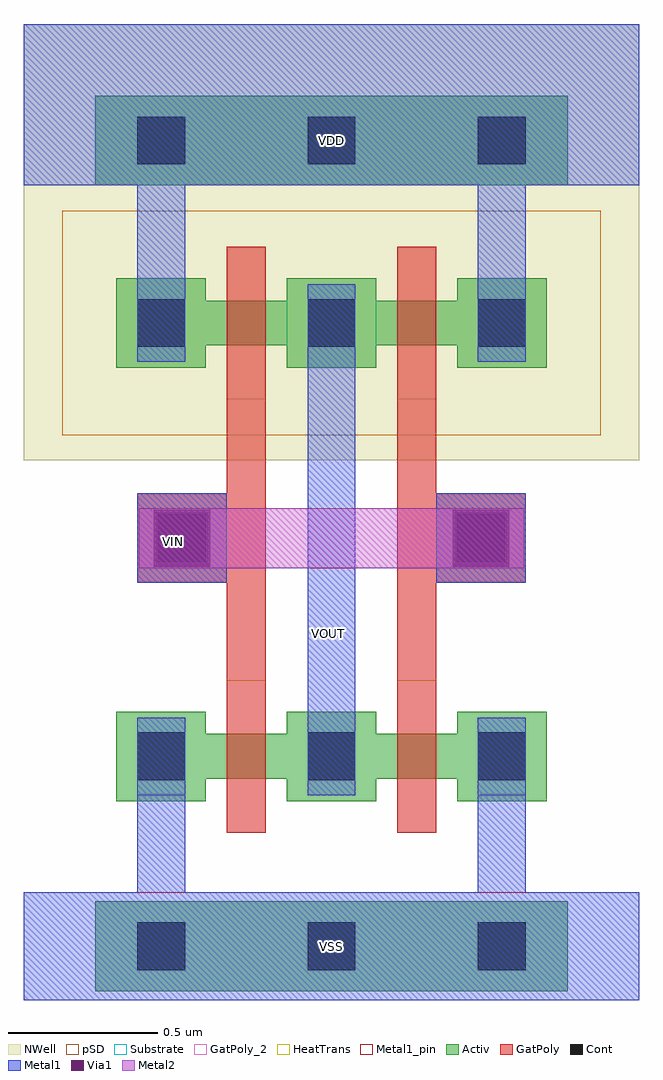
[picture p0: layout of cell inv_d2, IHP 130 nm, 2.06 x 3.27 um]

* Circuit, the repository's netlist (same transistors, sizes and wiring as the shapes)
* Extracted by KLayout with SG13G2 LVS runset on : 23/02/2026 22:01

.SUBCKT inv_d2 VIN VSS VDD VOUT
M$1 VSS VIN VOUT VSS sg13_lv_nmos L=0.13u W=0.3u AS=0.156p AD=0.156p PS=2.08u
+ PD=2.08u
M$3 VDD VIN VOUT VDD sg13_lv_pmos L=0.13u W=0.3u AS=0.156p AD=0.156p PS=2.08u
+ PD=2.08u
.ENDS inv_d2

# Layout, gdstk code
from math import pi, radians
import gdstk
lib = gdstk.Library(unit=1e-6, precision=5e-09)
def R(c, l, rs):  # rectangles x0, y0, x1, y1
    for r in rs: c.add(gdstk.rectangle(r[:2], r[2:], *l))
Activ = (1, 0)
GatPoly = (5, 0)
GatPoly_2 = (5, 2)
Cont = (6, 0)
Metal1 = (8, 0)
Metal1_pin = (8, 2)
Metal2 = (10, 0)
pSD = (14, 0)
Via1 = (19, 0)
NWell = (31, 0)
Substrate = (40, 0)
HeatTrans = (51, 0)

pmos_1_1_1_1_5 = lib.new_cell('pmos$1$1$1$1$5')
R(pmos_1_1_1_1_5, Activ, [(0,0,0.3,0.3), (0.57,0,0.87,0.3), (0,0.075,0.87,0.225)])
R(pmos_1_1_1_1_5, GatPoly, [(0.37,-0.105,0.5,0.405), (0.37,-0.105,0.5,0.405)])
R(pmos_1_1_1_1_5, Cont, [(0.07,0.07,0.23,0.23), (0.64,0.07,0.8,0.23)])
R(pmos_1_1_1_1_5, Metal1, [(0.07,0.02,0.23,0.28), (0.07,0.02,0.23,0.28), (0.64,0.02,0.8,0.28), (0.64,0.02,0.8,0.28)])
R(pmos_1_1_1_1_5, pSD, [(-0.18,-0.225,1.05,0.525)])
R(pmos_1_1_1_1_5, NWell, [(-0.31,-0.31,1.18,0.61)])
R(pmos_1_1_1_1_5, Substrate, [(0.57,0,0.87,0.3)])
R(pmos_1_1_1_1_5, HeatTrans, [(0.37,-0.105,0.5,0.405)])
pmos_1_1_1_1_5.add(gdstk.Label('pmos', (0.435,0.15), layer=63, texttype=0))
pmos_1_1_1_1_5.add(gdstk.Label('pmos', (0.435,0.15), layer=51, texttype=0))

nmos_1_9_1 = lib.new_cell('nmos$1$9$1')
R(nmos_1_9_1, Activ, [(0,0,0.3,0.3), (0.57,0,0.87,0.3), (0,0.075,0.87,0.225)])
R(nmos_1_9_1, GatPoly, [(0.37,-0.105,0.5,0.405)])
R(nmos_1_9_1, GatPoly_2, [(0.37,-0.105,0.5,0.405)])
R(nmos_1_9_1, Cont, [(0.07,0.07,0.23,0.23), (0.64,0.07,0.8,0.23)])
R(nmos_1_9_1, Metal1, [(0.07,0.02,0.23,0.28), (0.64,0.02,0.8,0.28)])
R(nmos_1_9_1, Metal1_pin, [(0.07,0.02,0.23,0.28), (0.64,0.02,0.8,0.28)])
R(nmos_1_9_1, HeatTrans, [(0.37,-0.105,0.5,0.405)])
nmos_1_9_1.add(gdstk.Label('nmos', (0.435,0.15), layer=63, texttype=0))
nmos_1_9_1.add(gdstk.Label('nmos', (0.435,0.15), layer=51, texttype=0))

inv_2 = lib.new_cell('inv$2')
R(inv_2, Activ, [(0.48,-0.04,1.49,0.26), (0.48,-0.04,1.49,0.26), (0.48,-0.04,1.49,0.26), (0.48,-0.04,1.49,0.26), (0.48,-0.04,1.49,0.26), (0.48,-0.04,1.49,0.26), (0.48,-0.04,1.49,0.26), (0.48,-0.04,1.49,0.26), (0.48,-0.04,1.49,0.26), (0.48,-0.04,1.49,0.26), (0.48,-0.04,1.49,0.26), (0.48,-0.04,1.49,0.26), (0.48,-0.04,1.49,0.26), (0.48,-0.04,1.49,0.26), (0.48,-0.04,1.49,0.26), (0.48,-0.04,1.49,0.26), (0.48,-0.04,1.49,0.26), (0.48,-0.04,1.49,0.26), (0.48,-0.04,1.49,0.26), (0.48,-0.04,1.49,0.26), (0.48,-0.04,1.49,0.26), (0.48,-0.04,1.49,0.26), (0.48,-0.04,1.49,0.26), (0.48,-0.04,1.49,0.26), (0.48,-0.04,1.49,0.26), (0.48,-0.04,1.49,0.26), (0.48,-0.04,1.49,0.26), (0.48,-0.04,1.49,0.26), (0.48,2.655,1.49,2.955), (0.48,2.655,1.49,2.955), (0.48,2.655,1.49,2.955), (0.48,2.655,1.49,2.955), (0.48,2.655,1.49,2.955), (0.48,2.655,1.49,2.955), (0.48,2.655,1.49,2.955), (0.48,2.655,1.49,2.955), (0.48,2.655,1.49,2.955), (0.48,2.655,1.49,2.955), (0.48,2.655,1.49,2.955), (0.48,2.655,1.49,2.955), (0.48,2.655,1.49,2.955), (0.48,2.655,1.49,2.955), (0.48,2.655,1.49,2.955), (0.48,2.655,1.49,2.955), (0.48,2.655,1.49,2.955), (0.48,2.655,1.49,2.955), (0.48,2.655,1.49,2.955), (0.48,2.655,1.49,2.955), (0.48,2.655,1.49,2.955), (0.48,2.655,1.49,2.955), (0.48,2.655,1.49,2.955), (0.48,2.655,1.49,2.955), (0.48,2.655,1.49,2.955), (0.48,2.655,1.49,2.955), (0.48,2.655,1.49,2.955), (0.48,2.655,1.49,2.955)])
R(inv_2, GatPoly, [(0.92,0.76,1.05,2.45), (0.92,0.76,1.05,2.45), (0.92,0.76,1.05,2.45), (0.92,0.76,1.05,2.45), (0.92,0.76,1.05,2.45), (0.92,0.76,1.05,2.45), (0.92,0.76,1.05,2.45), (0.92,0.76,1.05,2.45), (0.92,0.76,1.05,2.45), (0.92,0.76,1.05,2.45), (0.92,0.76,1.05,2.45), (0.92,0.76,1.05,2.45), (0.92,0.76,1.05,2.45), (0.92,0.76,1.05,2.45), (0.92,0.76,1.05,2.45), (0.92,0.76,1.05,2.45), (0.92,0.76,1.05,2.45), (0.92,0.76,1.05,2.45), (0.92,0.76,1.05,2.45), (0.92,0.76,1.05,2.45), (0.92,0.76,1.05,2.45), (0.92,0.76,1.05,2.45), (0.92,0.76,1.05,2.45), (0.92,0.76,1.05,2.45), (0.92,0.76,1.05,2.45), (0.92,0.76,1.05,2.45), (0.92,0.76,1.05,2.45), (0.92,0.76,1.05,2.45), (0.62,1.325,0.92,1.625), (0.62,1.325,0.92,1.625), (0.62,1.325,0.92,1.625), (0.62,1.325,0.92,1.625), (0.62,1.325,0.92,1.625), (0.62,1.325,0.92,1.625), (0.62,1.325,0.92,1.625), (0.62,1.325,0.92,1.625), (0.62,1.325,0.92,1.625), (0.62,1.325,0.92,1.625), (0.62,1.325,0.92,1.625), (0.62,1.325,0.92,1.625), (0.62,1.325,0.92,1.625), (0.62,1.325,0.92,1.625), (0.62,1.325,0.92,1.625), (0.62,1.325,0.92,1.625), (0.62,1.325,0.92,1.625), (0.62,1.325,0.92,1.625), (0.62,1.325,0.92,1.625), (0.62,1.325,0.92,1.625), (0.62,1.325,0.92,1.625), (0.62,1.325,0.92,1.625), (0.62,1.325,0.92,1.625), (0.62,1.325,0.92,1.625), (0.62,1.325,0.92,1.625), (0.62,1.325,0.92,1.625), (0.62,1.325,0.92,1.625), (0.62,1.325,0.92,1.625)])
R(inv_2, Cont, [(0.62,0.03,0.78,0.19), (0.62,0.03,0.78,0.19), (0.62,0.03,0.78,0.19), (0.62,0.03,0.78,0.19), (0.62,0.03,0.78,0.19), (0.62,0.03,0.78,0.19), (0.62,0.03,0.78,0.19), (0.62,0.03,0.78,0.19), (0.62,0.03,0.78,0.19), (0.62,0.03,0.78,0.19), (0.62,0.03,0.78,0.19), (0.62,0.03,0.78,0.19), (0.62,0.03,0.78,0.19), (0.62,0.03,0.78,0.19), (0.62,0.03,0.78,0.19), (0.62,0.03,0.78,0.19), (0.62,0.03,0.78,0.19), (0.62,0.03,0.78,0.19), (0.62,0.03,0.78,0.19), (0.62,0.03,0.78,0.19), (0.62,0.03,0.78,0.19), (0.62,0.03,0.78,0.19), (0.62,0.03,0.78,0.19), (0.62,0.03,0.78,0.19), (0.62,0.03,0.78,0.19), (0.62,0.03,0.78,0.19), (0.62,0.03,0.78,0.19), (0.62,0.03,0.78,0.19), (1.19,0.03,1.35,0.19), (1.19,0.03,1.35,0.19), (1.19,0.03,1.35,0.19), (1.19,0.03,1.35,0.19), (1.19,0.03,1.35,0.19), (1.19,0.03,1.35,0.19), (1.19,0.03,1.35,0.19), (1.19,0.03,1.35,0.19), (1.19,0.03,1.35,0.19), (1.19,0.03,1.35,0.19), (1.19,0.03,1.35,0.19), (1.19,0.03,1.35,0.19), (1.19,0.03,1.35,0.19), (1.19,0.03,1.35,0.19), (1.19,0.03,1.35,0.19), (1.19,0.03,1.35,0.19), (1.19,0.03,1.35,0.19), (1.19,0.03,1.35,0.19), (1.19,0.03,1.35,0.19), (1.19,0.03,1.35,0.19), (1.19,0.03,1.35,0.19), (1.19,0.03,1.35,0.19), (1.19,0.03,1.35,0.19), (1.19,0.03,1.35,0.19), (1.19,0.03,1.35,0.19), (1.19,0.03,1.35,0.19), (1.19,0.03,1.35,0.19), (1.19,0.03,1.35,0.19), (0.69,1.395,0.85,1.555), (0.69,1.395,0.85,1.555), (0.69,1.395,0.85,1.555), (0.69,1.395,0.85,1.555), (0.69,1.395,0.85,1.555), (0.69,1.395,0.85,1.555), (0.69,1.395,0.85,1.555), (0.69,1.395,0.85,1.555), (0.69,1.395,0.85,1.555), (0.69,1.395,0.85,1.555), (0.69,1.395,0.85,1.555), (0.69,1.395,0.85,1.555), (0.69,1.395,0.85,1.555), (0.69,1.395,0.85,1.555), (0.69,1.395,0.85,1.555), (0.69,1.395,0.85,1.555), (0.69,1.395,0.85,1.555), (0.69,1.395,0.85,1.555), (0.69,1.395,0.85,1.555), (0.69,1.395,0.85,1.555), (0.69,1.395,0.85,1.555), (0.69,1.395,0.85,1.555), (0.69,1.395,0.85,1.555), (0.69,1.395,0.85,1.555), (0.69,1.395,0.85,1.555), (0.69,1.395,0.85,1.555), (0.69,1.395,0.85,1.555), (0.69,1.395,0.85,1.555), (0.62,2.725,0.78,2.885), (0.62,2.725,0.78,2.885), (0.62,2.725,0.78,2.885), (0.62,2.725,0.78,2.885), (0.62,2.725,0.78,2.885), (0.62,2.725,0.78,2.885), (0.62,2.725,0.78,2.885), (0.62,2.725,0.78,2.885), (0.62,2.725,0.78,2.885), (0.62,2.725,0.78,2.885), (0.62,2.725,0.78,2.885), (0.62,2.725,0.78,2.885), (0.62,2.725,0.78,2.885), (0.62,2.725,0.78,2.885), (0.62,2.725,0.78,2.885), (0.62,2.725,0.78,2.885), (0.62,2.725,0.78,2.885), (0.62,2.725,0.78,2.885), (0.62,2.725,0.78,2.885), (0.62,2.725,0.78,2.885), (0.62,2.725,0.78,2.885), (0.62,2.725,0.78,2.885), (0.62,2.725,0.78,2.885), (0.62,2.725,0.78,2.885), (0.62,2.725,0.78,2.885), (0.62,2.725,0.78,2.885), (0.62,2.725,0.78,2.885), (0.62,2.725,0.78,2.885), (1.19,2.725,1.35,2.885), (1.19,2.725,1.35,2.885), (1.19,2.725,1.35,2.885), (1.19,2.725,1.35,2.885), (1.19,2.725,1.35,2.885), (1.19,2.725,1.35,2.885), (1.19,2.725,1.35,2.885), (1.19,2.725,1.35,2.885), (1.19,2.725,1.35,2.885), (1.19,2.725,1.35,2.885), (1.19,2.725,1.35,2.885), (1.19,2.725,1.35,2.885), (1.19,2.725,1.35,2.885), (1.19,2.725,1.35,2.885), (1.19,2.725,1.35,2.885), (1.19,2.725,1.35,2.885), (1.19,2.725,1.35,2.885), (1.19,2.725,1.35,2.885), (1.19,2.725,1.35,2.885), (1.19,2.725,1.35,2.885), (1.19,2.725,1.35,2.885), (1.19,2.725,1.35,2.885), (1.19,2.725,1.35,2.885), (1.19,2.725,1.35,2.885), (1.19,2.725,1.35,2.885), (1.19,2.725,1.35,2.885), (1.19,2.725,1.35,2.885), (1.19,2.725,1.35,2.885)])
R(inv_2, Metal1, [(0.24,-0.07,1.73,0.29), (0.24,-0.07,1.73,0.29), (0.24,-0.07,1.73,0.29), (0.24,-0.07,1.73,0.29), (0.24,-0.07,1.73,0.29), (0.24,-0.07,1.73,0.29), (0.24,-0.07,1.73,0.29), (0.24,-0.07,1.73,0.29), (0.24,-0.07,1.73,0.29), (0.24,-0.07,1.73,0.29), (0.24,-0.07,1.73,0.29), (0.24,-0.07,1.73,0.29), (0.24,-0.07,1.73,0.29), (0.24,-0.07,1.73,0.29), (0.24,-0.07,1.73,0.29), (0.24,-0.07,1.73,0.29), (0.24,-0.07,1.73,0.29), (0.24,-0.07,1.73,0.29), (0.24,-0.07,1.73,0.29), (0.24,-0.07,1.73,0.29), (0.24,-0.07,1.73,0.29), (0.24,-0.07,1.73,0.29), (0.24,-0.07,1.73,0.29), (0.24,-0.07,1.73,0.29), (0.24,-0.07,1.73,0.29), (0.24,-0.07,1.73,0.29), (0.24,-0.07,1.73,0.29), (0.24,-0.07,1.73,0.29), (0.62,-0.04,0.78,0.875), (0.62,-0.04,0.78,0.875), (0.62,-0.04,0.78,0.875), (0.62,-0.04,0.78,0.875), (0.62,-0.04,0.78,0.875), (0.62,-0.04,0.78,0.875), (0.62,-0.04,0.78,0.875), (0.62,-0.04,0.78,0.875), (0.62,-0.04,0.78,0.875), (0.62,-0.04,0.78,0.875), (0.62,-0.04,0.78,0.875), (0.62,-0.04,0.78,0.875), (0.62,-0.04,0.78,0.875), (0.62,-0.04,0.78,0.875), (0.62,-0.04,0.78,0.875), (0.62,-0.04,0.78,0.875), (0.62,-0.04,0.78,0.875), (0.62,-0.04,0.78,0.875), (0.62,-0.04,0.78,0.875), (0.62,-0.04,0.78,0.875), (0.62,-0.04,0.78,0.875), (0.62,-0.04,0.78,0.875), (0.62,-0.04,0.78,0.875), (0.62,-0.04,0.78,0.875), (0.62,-0.04,0.78,0.875), (0.62,-0.04,0.78,0.875), (0.62,-0.04,0.78,0.875), (0.62,-0.04,0.78,0.875), (1.19,0.615,1.35,2.325), (1.19,0.615,1.35,2.325), (1.19,0.615,1.35,2.325), (1.19,0.615,1.35,2.325), (1.19,0.615,1.35,2.325), (1.19,0.615,1.35,2.325), (1.19,0.615,1.35,2.325), (1.19,0.615,1.35,2.325), (1.19,0.615,1.35,2.325), (1.19,0.615,1.35,2.325), (1.19,0.615,1.35,2.325), (1.19,0.615,1.35,2.325), (1.19,0.615,1.35,2.325), (1.19,0.615,1.35,2.325), (1.19,0.615,1.35,2.325), (1.19,0.615,1.35,2.325), (1.19,0.615,1.35,2.325), (1.19,0.615,1.35,2.325), (1.19,0.615,1.35,2.325), (1.19,0.615,1.35,2.325), (1.19,0.615,1.35,2.325), (1.19,0.615,1.35,2.325), (1.19,0.615,1.35,2.325), (1.19,0.615,1.35,2.325), (1.19,0.615,1.35,2.325), (1.19,0.615,1.35,2.325), (1.19,0.615,1.35,2.325), (1.19,0.615,1.35,2.325), (0.62,1.325,0.92,1.625), (0.62,1.325,0.92,1.625), (0.62,1.325,0.92,1.625), (0.62,1.325,0.92,1.625), (0.62,1.325,0.92,1.625), (0.62,1.325,0.92,1.625), (0.62,1.325,0.92,1.625), (0.62,1.325,0.92,1.625), (0.62,1.325,0.92,1.625), (0.62,1.325,0.92,1.625), (0.62,1.325,0.92,1.625), (0.62,1.325,0.92,1.625), (0.62,1.325,0.92,1.625), (0.62,1.325,0.92,1.625), (0.62,1.325,0.92,1.625), (0.62,1.325,0.92,1.625), (0.62,1.325,0.92,1.625), (0.62,1.325,0.92,1.625), (0.62,1.325,0.92,1.625), (0.62,1.325,0.92,1.625), (0.62,1.325,0.92,1.625), (0.62,1.325,0.92,1.625), (0.62,1.325,0.92,1.625), (0.62,1.325,0.92,1.625), (0.62,1.325,0.92,1.625), (0.62,1.325,0.92,1.625), (0.62,1.325,0.92,1.625), (0.62,1.325,0.92,1.625), (0.62,2.065,0.78,2.955), (0.62,2.065,0.78,2.955), (0.62,2.065,0.78,2.955), (0.62,2.065,0.78,2.955), (0.62,2.065,0.78,2.955), (0.62,2.065,0.78,2.955), (0.62,2.065,0.78,2.955), (0.62,2.065,0.78,2.955), (0.62,2.065,0.78,2.955), (0.62,2.065,0.78,2.955), (0.62,2.065,0.78,2.955), (0.62,2.065,0.78,2.955), (0.62,2.065,0.78,2.955), (0.62,2.065,0.78,2.955), (0.62,2.065,0.78,2.955), (0.62,2.065,0.78,2.955), (0.62,2.065,0.78,2.955), (0.62,2.065,0.78,2.955), (0.62,2.065,0.78,2.955), (0.62,2.065,0.78,2.955), (0.62,2.065,0.78,2.955), (0.62,2.065,0.78,2.955), (0.62,2.065,0.78,2.955), (0.62,2.065,0.78,2.955), (0.62,2.065,0.78,2.955), (0.62,2.065,0.78,2.955), (0.62,2.065,0.78,2.955), (0.62,2.065,0.78,2.955), (0.24,2.655,1.73,3.195), (0.24,2.655,1.73,3.195), (0.24,2.655,1.73,3.195), (0.24,2.655,1.73,3.195), (0.24,2.655,1.73,3.195), (0.24,2.655,1.73,3.195), (0.24,2.655,1.73,3.195), (0.24,2.655,1.73,3.195), (0.24,2.655,1.73,3.195), (0.24,2.655,1.73,3.195), (0.24,2.655,1.73,3.195), (0.24,2.655,1.73,3.195), (0.24,2.655,1.73,3.195), (0.24,2.655,1.73,3.195), (0.24,2.655,1.73,3.195), (0.24,2.655,1.73,3.195), (0.24,2.655,1.73,3.195), (0.24,2.655,1.73,3.195), (0.24,2.655,1.73,3.195), (0.24,2.655,1.73,3.195), (0.24,2.655,1.73,3.195), (0.24,2.655,1.73,3.195), (0.24,2.655,1.73,3.195), (0.24,2.655,1.73,3.195), (0.24,2.655,1.73,3.195), (0.24,2.655,1.73,3.195), (0.24,2.655,1.73,3.195), (0.24,2.655,1.73,3.195)])
R(inv_2, Metal1_pin, [(0.24,-0.07,1.73,0.29), (0.24,-0.07,1.73,0.29), (0.24,-0.07,1.73,0.29), (0.24,-0.07,1.73,0.29), (0.24,-0.07,1.73,0.29), (0.24,-0.07,1.73,0.29), (0.24,-0.07,1.73,0.29), (0.24,-0.07,1.73,0.29), (0.24,-0.07,1.73,0.29), (0.24,-0.07,1.73,0.29), (0.24,-0.07,1.73,0.29), (0.24,-0.07,1.73,0.29), (0.24,-0.07,1.73,0.29), (0.24,-0.07,1.73,0.29), (0.24,-0.07,1.73,0.29), (0.24,-0.07,1.73,0.29), (0.24,-0.07,1.73,0.29), (0.24,-0.07,1.73,0.29), (0.24,-0.07,1.73,0.29), (0.24,-0.07,1.73,0.29), (0.24,-0.07,1.73,0.29), (0.24,-0.07,1.73,0.29), (0.24,-0.07,1.73,0.29), (0.24,-0.07,1.73,0.29), (0.24,-0.07,1.73,0.29), (0.24,-0.07,1.73,0.29), (0.24,-0.07,1.73,0.29), (0.24,-0.07,1.73,0.29), (1.19,0.615,1.35,2.325), (1.19,0.615,1.35,2.325), (1.19,0.615,1.35,2.325), (1.19,0.615,1.35,2.325), (1.19,0.615,1.35,2.325), (1.19,0.615,1.35,2.325), (1.19,0.615,1.35,2.325), (1.19,0.615,1.35,2.325), (1.19,0.615,1.35,2.325), (1.19,0.615,1.35,2.325), (1.19,0.615,1.35,2.325), (1.19,0.615,1.35,2.325), (1.19,0.615,1.35,2.325), (1.19,0.615,1.35,2.325), (1.19,0.615,1.35,2.325), (1.19,0.615,1.35,2.325), (1.19,0.615,1.35,2.325), (1.19,0.615,1.35,2.325), (1.19,0.615,1.35,2.325), (1.19,0.615,1.35,2.325), (1.19,0.615,1.35,2.325), (1.19,0.615,1.35,2.325), (1.19,0.615,1.35,2.325), (1.19,0.615,1.35,2.325), (1.19,0.615,1.35,2.325), (1.19,0.615,1.35,2.325), (1.19,0.615,1.35,2.325), (1.19,0.615,1.35,2.325), (0.62,1.325,0.92,1.625), (0.62,1.325,0.92,1.625), (0.62,1.325,0.92,1.625), (0.62,1.325,0.92,1.625), (0.62,1.325,0.92,1.625), (0.62,1.325,0.92,1.625), (0.62,1.325,0.92,1.625), (0.62,1.325,0.92,1.625), (0.62,1.325,0.92,1.625), (0.62,1.325,0.92,1.625), (0.62,1.325,0.92,1.625), (0.62,1.325,0.92,1.625), (0.62,1.325,0.92,1.625), (0.62,1.325,0.92,1.625), (0.62,1.325,0.92,1.625), (0.62,1.325,0.92,1.625), (0.62,1.325,0.92,1.625), (0.62,1.325,0.92,1.625), (0.62,1.325,0.92,1.625), (0.62,1.325,0.92,1.625), (0.62,1.325,0.92,1.625), (0.62,1.325,0.92,1.625), (0.62,1.325,0.92,1.625), (0.62,1.325,0.92,1.625), (0.62,1.325,0.92,1.625), (0.62,1.325,0.92,1.625), (0.62,1.325,0.92,1.625), (0.62,1.325,0.92,1.625), (0.24,2.655,1.73,3.195), (0.24,2.655,1.73,3.195), (0.24,2.655,1.73,3.195), (0.24,2.655,1.73,3.195), (0.24,2.655,1.73,3.195), (0.24,2.655,1.73,3.195), (0.24,2.655,1.73,3.195), (0.24,2.655,1.73,3.195), (0.24,2.655,1.73,3.195), (0.24,2.655,1.73,3.195), (0.24,2.655,1.73,3.195), (0.24,2.655,1.73,3.195), (0.24,2.655,1.73,3.195), (0.24,2.655,1.73,3.195), (0.24,2.655,1.73,3.195), (0.24,2.655,1.73,3.195), (0.24,2.655,1.73,3.195), (0.24,2.655,1.73,3.195), (0.24,2.655,1.73,3.195), (0.24,2.655,1.73,3.195), (0.24,2.655,1.73,3.195), (0.24,2.655,1.73,3.195), (0.24,2.655,1.73,3.195), (0.24,2.655,1.73,3.195), (0.24,2.655,1.73,3.195), (0.24,2.655,1.73,3.195), (0.24,2.655,1.73,3.195), (0.24,2.655,1.73,3.195)])
R(inv_2, pSD, [(0.24,-0.07,1.73,0.29), (0.24,-0.07,1.73,0.29), (0.24,-0.07,1.73,0.29), (0.24,-0.07,1.73,0.29), (0.24,-0.07,1.73,0.29), (0.24,-0.07,1.73,0.29), (0.24,-0.07,1.73,0.29), (0.24,-0.07,1.73,0.29), (0.24,-0.07,1.73,0.29), (0.24,-0.07,1.73,0.29), (0.24,-0.07,1.73,0.29), (0.24,-0.07,1.73,0.29), (0.24,-0.07,1.73,0.29), (0.24,-0.07,1.73,0.29), (0.24,-0.07,1.73,0.29), (0.24,-0.07,1.73,0.29), (0.24,-0.07,1.73,0.29), (0.24,-0.07,1.73,0.29), (0.24,-0.07,1.73,0.29), (0.24,-0.07,1.73,0.29), (0.24,-0.07,1.73,0.29), (0.24,-0.07,1.73,0.29), (0.24,-0.07,1.73,0.29), (0.24,-0.07,1.73,0.29), (0.24,-0.07,1.73,0.29), (0.24,-0.07,1.73,0.29), (0.24,-0.07,1.73,0.29), (0.24,-0.07,1.73,0.29)])
R(inv_2, NWell, [(0.24,2.655,1.73,3.195), (0.24,2.655,1.73,3.195), (0.24,2.655,1.73,3.195), (0.24,2.655,1.73,3.195), (0.24,2.655,1.73,3.195), (0.24,2.655,1.73,3.195), (0.24,2.655,1.73,3.195), (0.24,2.655,1.73,3.195), (0.24,2.655,1.73,3.195), (0.24,2.655,1.73,3.195), (0.24,2.655,1.73,3.195), (0.24,2.655,1.73,3.195), (0.24,2.655,1.73,3.195), (0.24,2.655,1.73,3.195), (0.24,2.655,1.73,3.195), (0.24,2.655,1.73,3.195), (0.24,2.655,1.73,3.195), (0.24,2.655,1.73,3.195), (0.24,2.655,1.73,3.195), (0.24,2.655,1.73,3.195), (0.24,2.655,1.73,3.195), (0.24,2.655,1.73,3.195), (0.24,2.655,1.73,3.195), (0.24,2.655,1.73,3.195), (0.24,2.655,1.73,3.195), (0.24,2.655,1.73,3.195), (0.24,2.655,1.73,3.195), (0.24,2.655,1.73,3.195)])
inv_2.add(gdstk.Reference(pmos_1_1_1_1_5, (0.55,2.045)))
inv_2.add(gdstk.Reference(nmos_1_9_1, (0.55,0.595)))
inv_2.add(gdstk.Label('VDD', (0.675,2.805), layer=8, texttype=25))
inv_2.add(gdstk.Label('VIN', (0.73,1.475), layer=8, texttype=25))
inv_2.add(gdstk.Label('VOUT', (1.2,1.665), layer=8, texttype=25))
inv_2.add(gdstk.Label('VDD', (0.675,2.805), layer=8, texttype=25))
inv_2.add(gdstk.Label('VIN', (0.73,1.475), layer=8, texttype=25))
inv_2.add(gdstk.Label('VOUT', (1.2,1.665), layer=8, texttype=25))
inv_2.add(gdstk.Label('VDD', (0.675,2.805), layer=8, texttype=25))
inv_2.add(gdstk.Label('VIN', (0.73,1.475), layer=8, texttype=25))
inv_2.add(gdstk.Label('VOUT', (1.2,1.665), layer=8, texttype=25))
inv_2.add(gdstk.Label('VDD', (0.675,2.805), layer=8, texttype=25))
inv_2.add(gdstk.Label('VIN', (0.73,1.475), layer=8, texttype=25))
inv_2.add(gdstk.Label('VOUT', (1.2,1.665), layer=8, texttype=25))
inv_2.add(gdstk.Label('VDD', (0.675,2.805), layer=8, texttype=25))
inv_2.add(gdstk.Label('VIN', (0.73,1.475), layer=8, texttype=25))
inv_2.add(gdstk.Label('VOUT', (1.2,1.665), layer=8, texttype=25))
inv_2.add(gdstk.Label('VDD', (0.675,2.805), layer=8, texttype=25))
inv_2.add(gdstk.Label('VIN', (0.73,1.475), layer=8, texttype=25))
inv_2.add(gdstk.Label('VOUT', (1.2,1.665), layer=8, texttype=25))
inv_2.add(gdstk.Label('VDD', (0.675,2.805), layer=8, texttype=25))
inv_2.add(gdstk.Label('VIN', (0.73,1.475), layer=8, texttype=25))
inv_2.add(gdstk.Label('VOUT', (1.2,1.665), layer=8, texttype=25))
inv_2.add(gdstk.Label('VDD', (0.675,2.805), layer=8, texttype=25))
inv_2.add(gdstk.Label('VIN', (0.73,1.475), layer=8, texttype=25))
inv_2.add(gdstk.Label('VOUT', (1.2,1.665), layer=8, texttype=25))
inv_2.add(gdstk.Label('VDD', (0.675,2.805), layer=8, texttype=25))
inv_2.add(gdstk.Label('VIN', (0.73,1.475), layer=8, texttype=25))
inv_2.add(gdstk.Label('VOUT', (1.2,1.665), layer=8, texttype=25))
inv_2.add(gdstk.Label('VDD', (0.675,2.805), layer=8, texttype=25))
inv_2.add(gdstk.Label('VIN', (0.73,1.475), layer=8, texttype=25))
inv_2.add(gdstk.Label('VOUT', (1.2,1.665), layer=8, texttype=25))
inv_2.add(gdstk.Label('VDD', (0.675,2.805), layer=8, texttype=25))
inv_2.add(gdstk.Label('VIN', (0.73,1.475), layer=8, texttype=25))
inv_2.add(gdstk.Label('VOUT', (1.2,1.665), layer=8, texttype=25))
inv_2.add(gdstk.Label('VDD', (0.675,2.805), layer=8, texttype=25))
inv_2.add(gdstk.Label('VIN', (0.73,1.475), layer=8, texttype=25))
inv_2.add(gdstk.Label('VOUT', (1.2,1.665), layer=8, texttype=25))
inv_2.add(gdstk.Label('VDD', (0.675,2.805), layer=8, texttype=25))
inv_2.add(gdstk.Label('VIN', (0.73,1.475), layer=8, texttype=25))
inv_2.add(gdstk.Label('VOUT', (1.2,1.665), layer=8, texttype=25))
inv_2.add(gdstk.Label('VDD', (0.675,2.805), layer=8, texttype=25))
inv_2.add(gdstk.Label('VIN', (0.73,1.475), layer=8, texttype=25))
inv_2.add(gdstk.Label('VOUT', (1.2,1.665), layer=8, texttype=25))
inv_2.add(gdstk.Label('VDD', (0.675,2.805), layer=8, texttype=25))
inv_2.add(gdstk.Label('VIN', (0.73,1.475), layer=8, texttype=25))
inv_2.add(gdstk.Label('VOUT', (1.2,1.665), layer=8, texttype=25))
inv_2.add(gdstk.Label('VDD', (0.675,2.805), layer=8, texttype=25))
inv_2.add(gdstk.Label('VIN', (0.73,1.475), layer=8, texttype=25))
inv_2.add(gdstk.Label('VOUT', (1.2,1.665), layer=8, texttype=25))
inv_2.add(gdstk.Label('VDD', (0.675,2.805), layer=8, texttype=25))
inv_2.add(gdstk.Label('VIN', (0.73,1.475), layer=8, texttype=25))
inv_2.add(gdstk.Label('VOUT', (1.2,1.665), layer=8, texttype=25))
inv_2.add(gdstk.Label('VDD', (0.675,2.805), layer=8, texttype=25))
inv_2.add(gdstk.Label('VIN', (0.73,1.475), layer=8, texttype=25))
inv_2.add(gdstk.Label('VOUT', (1.2,1.665), layer=8, texttype=25))
inv_2.add(gdstk.Label('VDD', (0.675,2.805), layer=8, texttype=25))
inv_2.add(gdstk.Label('VIN', (0.73,1.475), layer=8, texttype=25))
inv_2.add(gdstk.Label('VOUT', (1.2,1.665), layer=8, texttype=25))
inv_2.add(gdstk.Label('VDD', (0.675,2.805), layer=8, texttype=25))
inv_2.add(gdstk.Label('VIN', (0.73,1.475), layer=8, texttype=25))
inv_2.add(gdstk.Label('VOUT', (1.2,1.665), layer=8, texttype=25))
inv_2.add(gdstk.Label('VDD', (0.675,2.805), layer=8, texttype=25))
inv_2.add(gdstk.Label('VIN', (0.73,1.475), layer=8, texttype=25))
inv_2.add(gdstk.Label('VOUT', (1.2,1.665), layer=8, texttype=25))
inv_2.add(gdstk.Label('VDD', (0.675,2.805), layer=8, texttype=25))
inv_2.add(gdstk.Label('VIN', (0.73,1.475), layer=8, texttype=25))
inv_2.add(gdstk.Label('VOUT', (1.2,1.665), layer=8, texttype=25))
inv_2.add(gdstk.Label('VDD', (0.675,2.805), layer=8, texttype=25))
inv_2.add(gdstk.Label('VIN', (0.73,1.475), layer=8, texttype=25))
inv_2.add(gdstk.Label('VOUT', (1.2,1.665), layer=8, texttype=25))
inv_2.add(gdstk.Label('VDD', (0.675,2.805), layer=8, texttype=25))
inv_2.add(gdstk.Label('VIN', (0.73,1.475), layer=8, texttype=25))
inv_2.add(gdstk.Label('VOUT', (1.2,1.665), layer=8, texttype=25))
inv_2.add(gdstk.Label('VDD', (0.675,2.805), layer=8, texttype=25))
inv_2.add(gdstk.Label('VIN', (0.73,1.475), layer=8, texttype=25))
inv_2.add(gdstk.Label('VOUT', (1.2,1.665), layer=8, texttype=25))
inv_2.add(gdstk.Label('VDD', (0.675,2.805), layer=8, texttype=25))
inv_2.add(gdstk.Label('VIN', (0.73,1.475), layer=8, texttype=25))
inv_2.add(gdstk.Label('VOUT', (1.2,1.665), layer=8, texttype=25))
inv_2.add(gdstk.Label('VDD', (0.675,2.805), layer=8, texttype=25))
inv_2.add(gdstk.Label('VIN', (0.73,1.475), layer=8, texttype=25))
inv_2.add(gdstk.Label('VOUT', (1.2,1.665), layer=8, texttype=25))
inv_2.add(gdstk.Label('VDD', (0.675,2.805), layer=8, texttype=25))
inv_2.add(gdstk.Label('VIN', (0.73,1.475), layer=8, texttype=25))
inv_2.add(gdstk.Label('VOUT', (1.2,1.665), layer=8, texttype=25))
inv_2.add(gdstk.Label('VSS', (0.64,0.09), layer=8, texttype=25))
inv_2.add(gdstk.Label('VSS', (0.64,0.09), layer=8, texttype=25))
inv_2.add(gdstk.Label('VSS', (0.64,0.09), layer=8, texttype=25))
inv_2.add(gdstk.Label('VSS', (0.64,0.09), layer=8, texttype=25))
inv_2.add(gdstk.Label('VSS', (0.64,0.09), layer=8, texttype=25))
inv_2.add(gdstk.Label('VSS', (0.64,0.09), layer=8, texttype=25))
inv_2.add(gdstk.Label('VSS', (0.64,0.09), layer=8, texttype=25))
inv_2.add(gdstk.Label('VSS', (0.64,0.09), layer=8, texttype=25))
inv_2.add(gdstk.Label('VSS', (0.64,0.09), layer=8, texttype=25))
inv_2.add(gdstk.Label('VSS', (0.64,0.09), layer=8, texttype=25))
inv_2.add(gdstk.Label('VSS', (0.64,0.09), layer=8, texttype=25))
inv_2.add(gdstk.Label('VSS', (0.64,0.09), layer=8, texttype=25))
inv_2.add(gdstk.Label('VSS', (0.64,0.09), layer=8, texttype=25))
inv_2.add(gdstk.Label('VSS', (0.64,0.09), layer=8, texttype=25))
inv_2.add(gdstk.Label('VSS', (0.64,0.09), layer=8, texttype=25))
inv_2.add(gdstk.Label('VSS', (0.64,0.09), layer=8, texttype=25))
inv_2.add(gdstk.Label('VSS', (0.64,0.09), layer=8, texttype=25))
inv_2.add(gdstk.Label('VSS', (0.64,0.09), layer=8, texttype=25))
inv_2.add(gdstk.Label('VSS', (0.64,0.09), layer=8, texttype=25))
inv_2.add(gdstk.Label('VSS', (0.64,0.09), layer=8, texttype=25))
inv_2.add(gdstk.Label('VSS', (0.64,0.09), layer=8, texttype=25))
inv_2.add(gdstk.Label('VSS', (0.64,0.09), layer=8, texttype=25))
inv_2.add(gdstk.Label('VSS', (0.64,0.09), layer=8, texttype=25))
inv_2.add(gdstk.Label('VSS', (0.64,0.09), layer=8, texttype=25))
inv_2.add(gdstk.Label('VSS', (0.64,0.09), layer=8, texttype=25))
inv_2.add(gdstk.Label('VSS', (0.64,0.09), layer=8, texttype=25))
inv_2.add(gdstk.Label('VSS', (0.64,0.09), layer=8, texttype=25))
inv_2.add(gdstk.Label('VSS', (0.64,0.09), layer=8, texttype=25))

inv_d2 = lib.new_cell('inv_d2')
R(inv_d2, Metal1, [(0.625,1.705,0.915,1.915), (0.625,1.705,0.915,1.915), (0.625,1.705,0.915,1.915), (0.625,1.705,0.915,1.915), (0.625,1.705,0.915,1.915), (0.625,1.705,0.915,1.915), (1.625,1.705,1.915,1.915), (1.625,1.705,1.915,1.915), (1.625,1.705,1.915,1.915), (1.625,1.705,1.915,1.915), (1.625,1.705,1.915,1.915), (1.625,1.705,1.915,1.915)])
R(inv_d2, Metal1_pin, [(1.19,0.95,1.35,2.66), (1.19,0.95,1.35,2.66), (1.19,0.95,1.35,2.66), (1.19,0.95,1.35,2.66), (1.19,0.95,1.35,2.66), (1.19,0.95,1.35,2.66), (0.24,2.99,2.3,3.53), (0.24,2.99,2.3,3.53), (0.24,2.99,2.3,3.53), (0.24,2.99,2.3,3.53), (0.24,2.99,2.3,3.53), (0.24,2.99,2.3,3.53)])
R(inv_d2, Metal2, [(0.625,1.71,0.915,1.91), (0.625,1.71,0.915,1.91), (0.625,1.71,0.915,1.91), (0.625,1.71,0.915,1.91), (0.625,1.71,0.915,1.91), (0.625,1.71,0.915,1.91), (0.625,1.71,1.915,1.91), (0.625,1.71,1.915,1.91), (0.625,1.71,1.915,1.91), (0.625,1.71,1.915,1.91), (0.625,1.71,1.915,1.91), (0.625,1.71,1.915,1.91), (1.625,1.71,1.915,1.91), (1.625,1.71,1.915,1.91), (1.625,1.71,1.915,1.91), (1.625,1.71,1.915,1.91), (1.625,1.71,1.915,1.91), (1.625,1.71,1.915,1.91)])
R(inv_d2, Via1, [(0.675,1.715,0.865,1.905), (0.675,1.715,0.865,1.905), (0.675,1.715,0.865,1.905), (0.675,1.715,0.865,1.905), (0.675,1.715,0.865,1.905), (0.675,1.715,0.865,1.905), (1.675,1.715,1.865,1.905), (1.675,1.715,1.865,1.905), (1.675,1.715,1.865,1.905), (1.675,1.715,1.865,1.905), (1.675,1.715,1.865,1.905), (1.675,1.715,1.865,1.905)])
inv_d2.add(gdstk.Reference(inv_2, (0,0.335)))
inv_d2.add(gdstk.Reference(inv_2, (2.54,0.335), rotation=pi, x_reflection=True))
inv_d2.add(gdstk.Label('VDD', (1.27,3.14), layer=8, texttype=25))
inv_d2.add(gdstk.Label('VOUT', (1.26,1.49), layer=8, texttype=25))
inv_d2.add(gdstk.Label('VIN', (0.74,1.8), layer=8, texttype=25))
inv_d2.add(gdstk.Label('VSS', (1.27,0.445), layer=8, texttype=25))
inv_d2.add(gdstk.Label('VDD', (1.27,3.14), layer=8, texttype=25))
inv_d2.add(gdstk.Label('VOUT', (1.26,1.49), layer=8, texttype=25))
inv_d2.add(gdstk.Label('VIN', (0.74,1.8), layer=8, texttype=25))
inv_d2.add(gdstk.Label('VSS', (1.27,0.445), layer=8, texttype=25))
inv_d2.add(gdstk.Label('VDD', (1.27,3.14), layer=8, texttype=25))
inv_d2.add(gdstk.Label('VOUT', (1.26,1.49), layer=8, texttype=25))
inv_d2.add(gdstk.Label('VIN', (0.74,1.8), layer=8, texttype=25))
inv_d2.add(gdstk.Label('VSS', (1.27,0.445), layer=8, texttype=25))
inv_d2.add(gdstk.Label('VDD', (1.27,3.14), layer=8, texttype=25))
inv_d2.add(gdstk.Label('VOUT', (1.26,1.49), layer=8, texttype=25))
inv_d2.add(gdstk.Label('VIN', (0.74,1.8), layer=8, texttype=25))
inv_d2.add(gdstk.Label('VSS', (1.27,0.445), layer=8, texttype=25))
inv_d2.add(gdstk.Label('VDD', (1.27,3.14), layer=8, texttype=25))
inv_d2.add(gdstk.Label('VOUT', (1.26,1.49), layer=8, texttype=25))
inv_d2.add(gdstk.Label('VIN', (0.74,1.8), layer=8, texttype=25))
inv_d2.add(gdstk.Label('VSS', (1.27,0.445), layer=8, texttype=25))
inv_d2.add(gdstk.Label('VDD', (1.27,3.14), layer=8, texttype=25))
inv_d2.add(gdstk.Label('VOUT', (1.26,1.49), layer=8, texttype=25))
inv_d2.add(gdstk.Label('VIN', (0.74,1.8), layer=8, texttype=25))
inv_d2.add(gdstk.Label('VSS', (1.27,0.445), layer=8, texttype=25))

lib.write_gds('inv_d2.gds')
